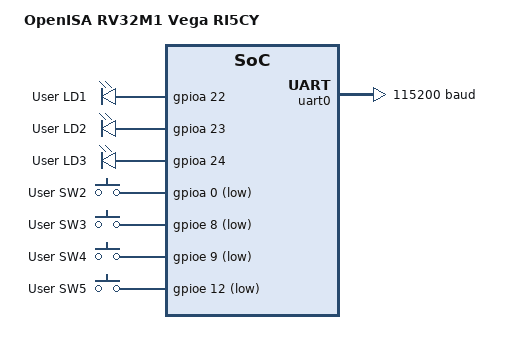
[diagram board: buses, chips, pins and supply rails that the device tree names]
/dts-v1/;

#include "rv32m1_ri5cy.dtsi"

/ {
	model = "OpenISA RV32M1 Vega RI5CY";
	compatible = "openisa,rv32m1";

	aliases {
		led0 = &green_led;
		led1 = &blue_led;
		led2 = &red_led;
		sw0 = &user_button_2;
		sw1 = &user_button_3;
		sw2 = &user_button_4;
		sw3 = &user_button_5;
	};

	chosen {
		zephyr,sram = &sram0;
		zephyr,console = &uart0;
		zephyr,uart-pipe = &uart0;
		zephyr,flash = &flash0;
		zephyr,flash-ctrl = &fctrl0;
	};

	leds {
		compatible = "gpio-leds";
		red_led: led_0 {
			gpios = <&gpioa 22 0>;
			label = "User LD1";
		};
		green_led: led_1 {
			gpios = <&gpioa 23 0>;
			label = "User LD2";
		};
		blue_led: led_2 {
			gpios = <&gpioa 24 0>;
			label = "User LD3";
		};
	};

	gpio_keys {
		compatible = "gpio-keys";
		user_button_2: button_0 {
			label = "User SW2";
			gpios = <&gpioa 0 GPIO_INT_ACTIVE_LOW>;
		};
		user_button_3: button_1 {
			label = "User SW3";
			gpios = <&gpioe 8 GPIO_INT_ACTIVE_LOW>;
		};
		user_button_4: button_2 {
			label = "User SW4";
			gpios = <&gpioe 9 GPIO_INT_ACTIVE_LOW>;
		};
		user_button_5: button_3 {
			label = "User SW5";
			gpios = <&gpioe 12 GPIO_INT_ACTIVE_LOW>;
		};
	};
};

&uart0 {
	current-speed = <115200>;
	status = "ok";
};

&flash0 {
	/*
	 * For more information, see:
	 * http://docs.zephyrproject.org/devices/dts/flash_partitions.html
	 */
	partitions {
		compatible = "fixed-partitions";
		#address-cells = <1>;
		#size-cells = <1>;

		boot_partition: partition@0 {
			label = "mcuboot";
			reg = <0x00000000 0x00010000>;
			read-only;
		};

		/*
		 * The flash starting at 0x00010000 and ending at
		 * 0x0001ffff (sectors 16-31) is reserved for use
		 * by the application.
		 */
		storage_partition: partition@1e000 {
			label = "storage";
			reg = <0x0001e000 0x00002000>;
		};

		slot0_partition: partition@20000 {
			label = "image-0";
			reg = <0x00020000 0x00060000>;
		};
		slot1_partition: partition@80000 {
			label = "image-1";
			reg = <0x00080000 0x00060000>;
		};
		scratch_partition: partition@e0000 {
			label = "image-scratch";
			reg = <0x000e0000 0x00020000>;
		};

	};
};
